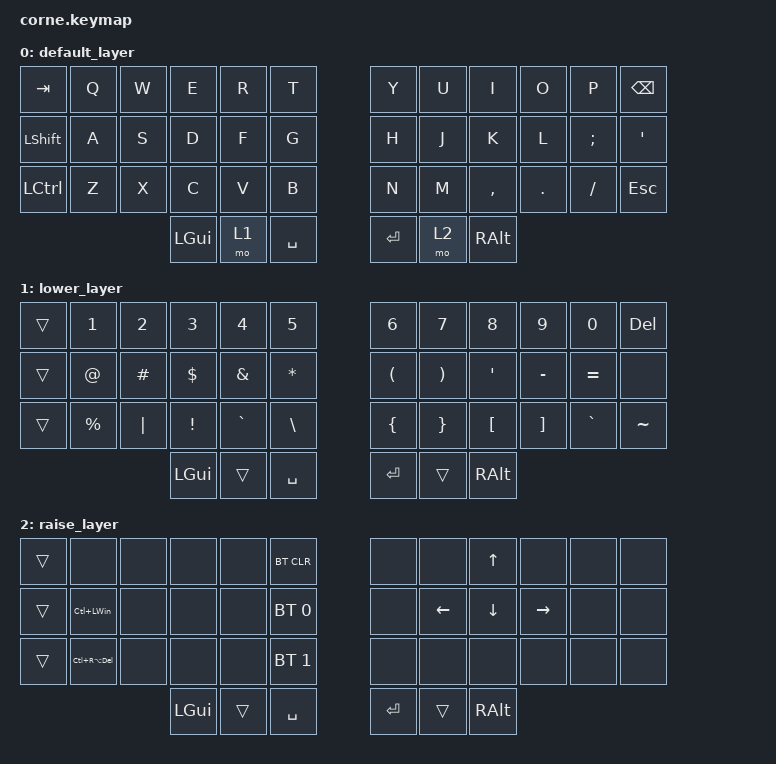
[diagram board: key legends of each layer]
/*
 * Copyright (c) 2020 The ZMK Contributors
 *
 * SPDX-License-Identifier: MIT
 */

#include <behaviors.dtsi>
#include <dt-bindings/zmk/keys.h>
#include <dt-bindings/zmk/bt.h>

/ {
        keymap {
                compatible = "zmk,keymap";

                default_layer {
                        bindings = <
   &kp TAB      &kp Q   &kp W &kp E &kp R &kp T     &kp Y   &kp U   &kp I     &kp O   &kp P    &kp BSPC
   &kp LSHFT    &kp A   &kp S &kp D &kp F &kp G     &kp H   &kp J   &kp K     &kp L   &kp SEMI &kp SQT
   &kp LCTRL    &kp Z   &kp X &kp C &kp V &kp B     &kp N   &kp M   &kp COMMA &kp DOT &kp FSLH &kp ESC
                        &kp LGUI &mo 1 &kp SPACE    &kp RET &mo 2   &kp RALT
                        >;
                };
                lower_layer {
                        bindings = <
   &trans   &kp N1      &kp N2      &kp N3      &kp N4      &kp N5          &kp N6      &kp N7      &kp N8      &kp N9      &kp N0      &kp DEL
   &trans   &kp AT      &kp HASH    &kp DLLR    &kp AMPS    &kp ASTRK       &kp LPAR    &kp RPAR    &kp SQT     &kp MINUS    &kp EQUAL   &none
   &trans   &kp PRCNT   &kp PIPE    &kp EXCL    &kp GRAVE   &kp BSLH        &kp LBRC    &kp RBRC    &kp LBKT    &kp RBKT    &kp GRAVE   &kp TILDE
                                    &kp LGUI    &trans      &kp SPACE       &kp RET     &trans      &kp RALT
                        >;
                };

                raise_layer {
                        bindings = <
   &trans     &none             &none   &none      &none   &bt BT_CLR       &none   &none       &kp UP      &none       &none   &none
   &trans     &kp LC(LWIN)      &none   &none      &none   &bt BT_SEL 0     &none   &kp LEFT    &kp DOWN    &kp RIGHT   &none   &none
   &trans     &kp LC(RA(DEL))   &none   &none      &none   &bt BT_SEL 1     &none   &none       &none       &none       &none   &none
                                        &kp LGUI   &trans  &kp SPACE        &kp RET &trans      &kp RALT
                        >;
                };
        };
};
